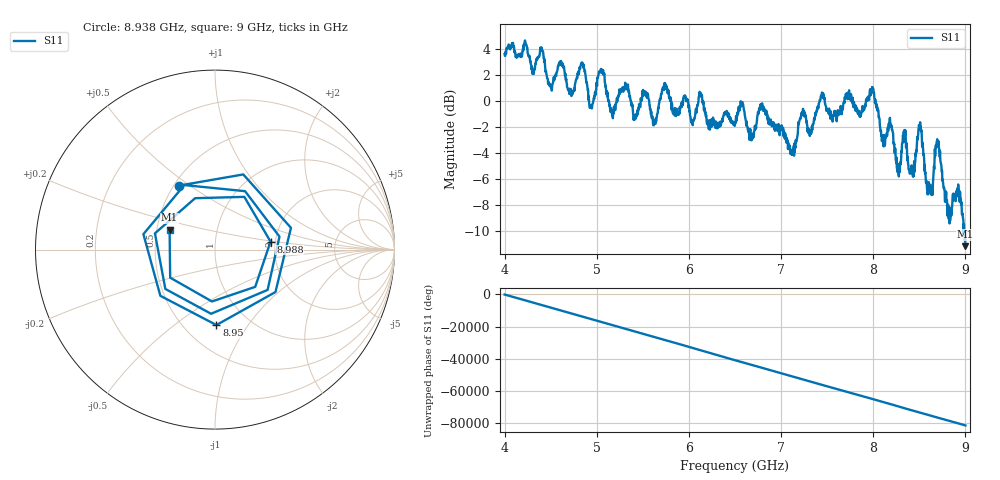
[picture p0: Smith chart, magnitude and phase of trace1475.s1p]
! Created with skrf 1.8.0 (http://scikit-rf.org).
# Hz S RI R 50.0
!freq ReS11 ImS11
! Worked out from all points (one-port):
!   1601 points, 4 GHz to 9 GHz, reference 50 ohm
!   lowest |S11| = -11.2 dB at 9 GHz (marker M1), VSWR 1.76, Z = 29.2 + j6.97 ohm
!   |S11| at or under -10 dB: 8.980275 GHz to 8.981971 GHz (1.696 MHz wide, 0.0189 % of centre); 8.987364 GHz to end of sweep
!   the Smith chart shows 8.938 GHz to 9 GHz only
!   S11 on the Smith chart (normalised r, x): 8.938 GHz: 0.53, +0.46; 8.95 GHz: 0.71, -0.72; 8.988 GHz: 1.88, +0.19; 9 GHz: 0.58, +0.14
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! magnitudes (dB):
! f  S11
! 4 GHz  3.6
! 4.625 GHz  2.9
! 4.725 GHz  0.4
! 4.847 GHz  2.9
! 4.934 GHz  -0.3
! 5.044 GHz  2.5
! 5.162 GHz  -0.9
! 5.25 GHz  0.6
! 5.875 GHz  -1.0
! 6.5 GHz  -1.8
! 6.681 GHz  -2.7
! 6.8 GHz  -0.7
! 7.125 GHz  -3.8
! 7.234 GHz  -1.0
! 7.75 GHz  0.2
! 7.988 GHz  1.1
! 8.269 GHz  -4.8
! 8.338 GHz  -2.2
! 8.375 GHz  -4.6
! 8.431 GHz  -5.8
! 8.503 GHz  -2.0
! 8.6 GHz  -7.0
! 8.694 GHz  -2.9
! 8.825 GHz  -8.9
! 8.938 GHz  -7.8
! 8.95 GHz  -7.5
! 8.988 GHz  -10.1
! 9 GHz  -11.2
